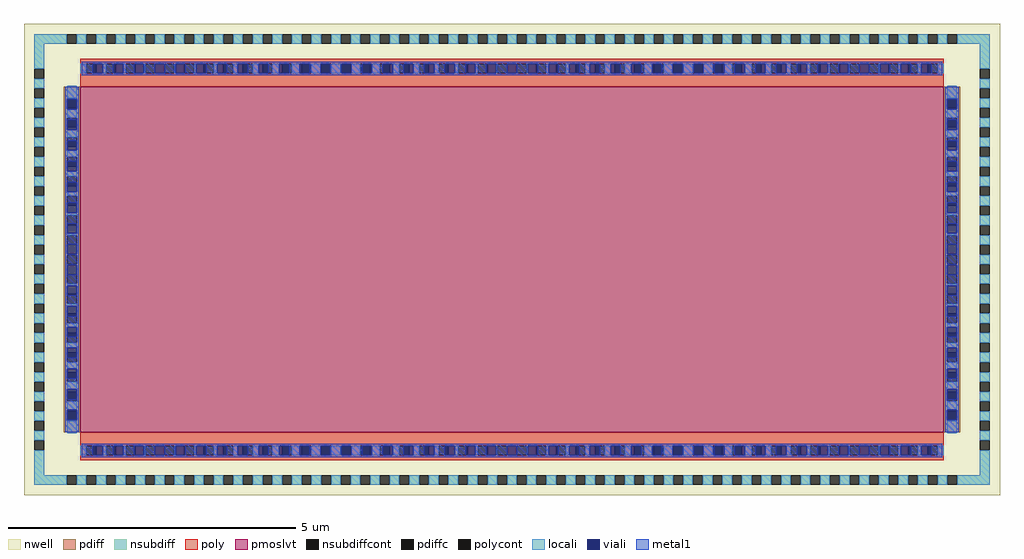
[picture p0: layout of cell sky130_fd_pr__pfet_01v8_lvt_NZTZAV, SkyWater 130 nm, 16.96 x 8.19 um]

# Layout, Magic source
magic
tech sky130A
magscale 1 2
<< nwell >>
rect -1696 -819 1696 819
<< pmoslvt >>
rect -1500 -600 1500 600
<< pdiff >>
rect -1558 561 -1500 600
rect -1558 527 -1546 561
rect -1512 527 -1500 561
rect -1558 493 -1500 527
rect -1558 459 -1546 493
rect -1512 459 -1500 493
rect -1558 425 -1500 459
rect -1558 391 -1546 425
rect -1512 391 -1500 425
rect -1558 357 -1500 391
rect -1558 323 -1546 357
rect -1512 323 -1500 357
rect -1558 289 -1500 323
rect -1558 255 -1546 289
rect -1512 255 -1500 289
rect -1558 221 -1500 255
rect -1558 187 -1546 221
rect -1512 187 -1500 221
rect -1558 153 -1500 187
rect -1558 119 -1546 153
rect -1512 119 -1500 153
rect -1558 85 -1500 119
rect -1558 51 -1546 85
rect -1512 51 -1500 85
rect -1558 17 -1500 51
rect -1558 -17 -1546 17
rect -1512 -17 -1500 17
rect -1558 -51 -1500 -17
rect -1558 -85 -1546 -51
rect -1512 -85 -1500 -51
rect -1558 -119 -1500 -85
rect -1558 -153 -1546 -119
rect -1512 -153 -1500 -119
rect -1558 -187 -1500 -153
rect -1558 -221 -1546 -187
rect -1512 -221 -1500 -187
rect -1558 -255 -1500 -221
rect -1558 -289 -1546 -255
rect -1512 -289 -1500 -255
rect -1558 -323 -1500 -289
rect -1558 -357 -1546 -323
rect -1512 -357 -1500 -323
rect -1558 -391 -1500 -357
rect -1558 -425 -1546 -391
rect -1512 -425 -1500 -391
rect -1558 -459 -1500 -425
rect -1558 -493 -1546 -459
rect -1512 -493 -1500 -459
rect -1558 -527 -1500 -493
rect -1558 -561 -1546 -527
rect -1512 -561 -1500 -527
rect -1558 -600 -1500 -561
rect 1500 561 1558 600
rect 1500 527 1512 561
rect 1546 527 1558 561
rect 1500 493 1558 527
rect 1500 459 1512 493
rect 1546 459 1558 493
rect 1500 425 1558 459
rect 1500 391 1512 425
rect 1546 391 1558 425
rect 1500 357 1558 391
rect 1500 323 1512 357
rect 1546 323 1558 357
rect 1500 289 1558 323
rect 1500 255 1512 289
rect 1546 255 1558 289
rect 1500 221 1558 255
rect 1500 187 1512 221
rect 1546 187 1558 221
rect 1500 153 1558 187
rect 1500 119 1512 153
rect 1546 119 1558 153
rect 1500 85 1558 119
rect 1500 51 1512 85
rect 1546 51 1558 85
rect 1500 17 1558 51
rect 1500 -17 1512 17
rect 1546 -17 1558 17
rect 1500 -51 1558 -17
rect 1500 -85 1512 -51
rect 1546 -85 1558 -51
rect 1500 -119 1558 -85
rect 1500 -153 1512 -119
rect 1546 -153 1558 -119
rect 1500 -187 1558 -153
rect 1500 -221 1512 -187
rect 1546 -221 1558 -187
rect 1500 -255 1558 -221
rect 1500 -289 1512 -255
rect 1546 -289 1558 -255
rect 1500 -323 1558 -289
rect 1500 -357 1512 -323
rect 1546 -357 1558 -323
rect 1500 -391 1558 -357
rect 1500 -425 1512 -391
rect 1546 -425 1558 -391
rect 1500 -459 1558 -425
rect 1500 -493 1512 -459
rect 1546 -493 1558 -459
rect 1500 -527 1558 -493
rect 1500 -561 1512 -527
rect 1546 -561 1558 -527
rect 1500 -600 1558 -561
<< pdiffc >>
rect -1546 527 -1512 561
rect -1546 459 -1512 493
rect -1546 391 -1512 425
rect -1546 323 -1512 357
rect -1546 255 -1512 289
rect -1546 187 -1512 221
rect -1546 119 -1512 153
rect -1546 51 -1512 85
rect -1546 -17 -1512 17
rect -1546 -85 -1512 -51
rect -1546 -153 -1512 -119
rect -1546 -221 -1512 -187
rect -1546 -289 -1512 -255
rect -1546 -357 -1512 -323
rect -1546 -425 -1512 -391
rect -1546 -493 -1512 -459
rect -1546 -561 -1512 -527
rect 1512 527 1546 561
rect 1512 459 1546 493
rect 1512 391 1546 425
rect 1512 323 1546 357
rect 1512 255 1546 289
rect 1512 187 1546 221
rect 1512 119 1546 153
rect 1512 51 1546 85
rect 1512 -17 1546 17
rect 1512 -85 1546 -51
rect 1512 -153 1546 -119
rect 1512 -221 1546 -187
rect 1512 -289 1546 -255
rect 1512 -357 1546 -323
rect 1512 -425 1546 -391
rect 1512 -493 1546 -459
rect 1512 -561 1546 -527
<< nsubdiff >>
rect -1660 749 -1547 783
rect -1513 749 -1479 783
rect -1445 749 -1411 783
rect -1377 749 -1343 783
rect -1309 749 -1275 783
rect -1241 749 -1207 783
rect -1173 749 -1139 783
rect -1105 749 -1071 783
rect -1037 749 -1003 783
rect -969 749 -935 783
rect -901 749 -867 783
rect -833 749 -799 783
rect -765 749 -731 783
rect -697 749 -663 783
rect -629 749 -595 783
rect -561 749 -527 783
rect -493 749 -459 783
rect -425 749 -391 783
rect -357 749 -323 783
rect -289 749 -255 783
rect -221 749 -187 783
rect -153 749 -119 783
rect -85 749 -51 783
rect -17 749 17 783
rect 51 749 85 783
rect 119 749 153 783
rect 187 749 221 783
rect 255 749 289 783
rect 323 749 357 783
rect 391 749 425 783
rect 459 749 493 783
rect 527 749 561 783
rect 595 749 629 783
rect 663 749 697 783
rect 731 749 765 783
rect 799 749 833 783
rect 867 749 901 783
rect 935 749 969 783
rect 1003 749 1037 783
rect 1071 749 1105 783
rect 1139 749 1173 783
rect 1207 749 1241 783
rect 1275 749 1309 783
rect 1343 749 1377 783
rect 1411 749 1445 783
rect 1479 749 1513 783
rect 1547 749 1660 783
rect -1660 663 -1626 749
rect -1660 595 -1626 629
rect 1626 663 1660 749
rect -1660 527 -1626 561
rect -1660 459 -1626 493
rect -1660 391 -1626 425
rect -1660 323 -1626 357
rect -1660 255 -1626 289
rect -1660 187 -1626 221
rect -1660 119 -1626 153
rect -1660 51 -1626 85
rect -1660 -17 -1626 17
rect -1660 -85 -1626 -51
rect -1660 -153 -1626 -119
rect -1660 -221 -1626 -187
rect -1660 -289 -1626 -255
rect -1660 -357 -1626 -323
rect -1660 -425 -1626 -391
rect -1660 -493 -1626 -459
rect -1660 -561 -1626 -527
rect -1660 -629 -1626 -595
rect 1626 595 1660 629
rect 1626 527 1660 561
rect 1626 459 1660 493
rect 1626 391 1660 425
rect 1626 323 1660 357
rect 1626 255 1660 289
rect 1626 187 1660 221
rect 1626 119 1660 153
rect 1626 51 1660 85
rect 1626 -17 1660 17
rect 1626 -85 1660 -51
rect 1626 -153 1660 -119
rect 1626 -221 1660 -187
rect 1626 -289 1660 -255
rect 1626 -357 1660 -323
rect 1626 -425 1660 -391
rect 1626 -493 1660 -459
rect 1626 -561 1660 -527
rect -1660 -749 -1626 -663
rect 1626 -629 1660 -595
rect 1626 -749 1660 -663
rect -1660 -783 -1547 -749
rect -1513 -783 -1479 -749
rect -1445 -783 -1411 -749
rect -1377 -783 -1343 -749
rect -1309 -783 -1275 -749
rect -1241 -783 -1207 -749
rect -1173 -783 -1139 -749
rect -1105 -783 -1071 -749
rect -1037 -783 -1003 -749
rect -969 -783 -935 -749
rect -901 -783 -867 -749
rect -833 -783 -799 -749
rect -765 -783 -731 -749
rect -697 -783 -663 -749
rect -629 -783 -595 -749
rect -561 -783 -527 -749
rect -493 -783 -459 -749
rect -425 -783 -391 -749
rect -357 -783 -323 -749
rect -289 -783 -255 -749
rect -221 -783 -187 -749
rect -153 -783 -119 -749
rect -85 -783 -51 -749
rect -17 -783 17 -749
rect 51 -783 85 -749
rect 119 -783 153 -749
rect 187 -783 221 -749
rect 255 -783 289 -749
rect 323 -783 357 -749
rect 391 -783 425 -749
rect 459 -783 493 -749
rect 527 -783 561 -749
rect 595 -783 629 -749
rect 663 -783 697 -749
rect 731 -783 765 -749
rect 799 -783 833 -749
rect 867 -783 901 -749
rect 935 -783 969 -749
rect 1003 -783 1037 -749
rect 1071 -783 1105 -749
rect 1139 -783 1173 -749
rect 1207 -783 1241 -749
rect 1275 -783 1309 -749
rect 1343 -783 1377 -749
rect 1411 -783 1445 -749
rect 1479 -783 1513 -749
rect 1547 -783 1660 -749
<< nsubdiffcont >>
rect -1547 749 -1513 783
rect -1479 749 -1445 783
rect -1411 749 -1377 783
rect -1343 749 -1309 783
rect -1275 749 -1241 783
rect -1207 749 -1173 783
rect -1139 749 -1105 783
rect -1071 749 -1037 783
rect -1003 749 -969 783
rect -935 749 -901 783
rect -867 749 -833 783
rect -799 749 -765 783
rect -731 749 -697 783
rect -663 749 -629 783
rect -595 749 -561 783
rect -527 749 -493 783
rect -459 749 -425 783
rect -391 749 -357 783
rect -323 749 -289 783
rect -255 749 -221 783
rect -187 749 -153 783
rect -119 749 -85 783
rect -51 749 -17 783
rect 17 749 51 783
rect 85 749 119 783
rect 153 749 187 783
rect 221 749 255 783
rect 289 749 323 783
rect 357 749 391 783
rect 425 749 459 783
rect 493 749 527 783
rect 561 749 595 783
rect 629 749 663 783
rect 697 749 731 783
rect 765 749 799 783
rect 833 749 867 783
rect 901 749 935 783
rect 969 749 1003 783
rect 1037 749 1071 783
rect 1105 749 1139 783
rect 1173 749 1207 783
rect 1241 749 1275 783
rect 1309 749 1343 783
rect 1377 749 1411 783
rect 1445 749 1479 783
rect 1513 749 1547 783
rect -1660 629 -1626 663
rect 1626 629 1660 663
rect -1660 561 -1626 595
rect -1660 493 -1626 527
rect -1660 425 -1626 459
rect -1660 357 -1626 391
rect -1660 289 -1626 323
rect -1660 221 -1626 255
rect -1660 153 -1626 187
rect -1660 85 -1626 119
rect -1660 17 -1626 51
rect -1660 -51 -1626 -17
rect -1660 -119 -1626 -85
rect -1660 -187 -1626 -153
rect -1660 -255 -1626 -221
rect -1660 -323 -1626 -289
rect -1660 -391 -1626 -357
rect -1660 -459 -1626 -425
rect -1660 -527 -1626 -493
rect -1660 -595 -1626 -561
rect 1626 561 1660 595
rect 1626 493 1660 527
rect 1626 425 1660 459
rect 1626 357 1660 391
rect 1626 289 1660 323
rect 1626 221 1660 255
rect 1626 153 1660 187
rect 1626 85 1660 119
rect 1626 17 1660 51
rect 1626 -51 1660 -17
rect 1626 -119 1660 -85
rect 1626 -187 1660 -153
rect 1626 -255 1660 -221
rect 1626 -323 1660 -289
rect 1626 -391 1660 -357
rect 1626 -459 1660 -425
rect 1626 -527 1660 -493
rect 1626 -595 1660 -561
rect -1660 -663 -1626 -629
rect 1626 -663 1660 -629
rect -1547 -783 -1513 -749
rect -1479 -783 -1445 -749
rect -1411 -783 -1377 -749
rect -1343 -783 -1309 -749
rect -1275 -783 -1241 -749
rect -1207 -783 -1173 -749
rect -1139 -783 -1105 -749
rect -1071 -783 -1037 -749
rect -1003 -783 -969 -749
rect -935 -783 -901 -749
rect -867 -783 -833 -749
rect -799 -783 -765 -749
rect -731 -783 -697 -749
rect -663 -783 -629 -749
rect -595 -783 -561 -749
rect -527 -783 -493 -749
rect -459 -783 -425 -749
rect -391 -783 -357 -749
rect -323 -783 -289 -749
rect -255 -783 -221 -749
rect -187 -783 -153 -749
rect -119 -783 -85 -749
rect -51 -783 -17 -749
rect 17 -783 51 -749
rect 85 -783 119 -749
rect 153 -783 187 -749
rect 221 -783 255 -749
rect 289 -783 323 -749
rect 357 -783 391 -749
rect 425 -783 459 -749
rect 493 -783 527 -749
rect 561 -783 595 -749
rect 629 -783 663 -749
rect 697 -783 731 -749
rect 765 -783 799 -749
rect 833 -783 867 -749
rect 901 -783 935 -749
rect 969 -783 1003 -749
rect 1037 -783 1071 -749
rect 1105 -783 1139 -749
rect 1173 -783 1207 -749
rect 1241 -783 1275 -749
rect 1309 -783 1343 -749
rect 1377 -783 1411 -749
rect 1445 -783 1479 -749
rect 1513 -783 1547 -749
<< poly >>
rect -1500 681 1500 697
rect -1500 647 -1479 681
rect -1445 647 -1411 681
rect -1377 647 -1343 681
rect -1309 647 -1275 681
rect -1241 647 -1207 681
rect -1173 647 -1139 681
rect -1105 647 -1071 681
rect -1037 647 -1003 681
rect -969 647 -935 681
rect -901 647 -867 681
rect -833 647 -799 681
rect -765 647 -731 681
rect -697 647 -663 681
rect -629 647 -595 681
rect -561 647 -527 681
rect -493 647 -459 681
rect -425 647 -391 681
rect -357 647 -323 681
rect -289 647 -255 681
rect -221 647 -187 681
rect -153 647 -119 681
rect -85 647 -51 681
rect -17 647 17 681
rect 51 647 85 681
rect 119 647 153 681
rect 187 647 221 681
rect 255 647 289 681
rect 323 647 357 681
rect 391 647 425 681
rect 459 647 493 681
rect 527 647 561 681
rect 595 647 629 681
rect 663 647 697 681
rect 731 647 765 681
rect 799 647 833 681
rect 867 647 901 681
rect 935 647 969 681
rect 1003 647 1037 681
rect 1071 647 1105 681
rect 1139 647 1173 681
rect 1207 647 1241 681
rect 1275 647 1309 681
rect 1343 647 1377 681
rect 1411 647 1445 681
rect 1479 647 1500 681
rect -1500 600 1500 647
rect -1500 -647 1500 -600
rect -1500 -681 -1479 -647
rect -1445 -681 -1411 -647
rect -1377 -681 -1343 -647
rect -1309 -681 -1275 -647
rect -1241 -681 -1207 -647
rect -1173 -681 -1139 -647
rect -1105 -681 -1071 -647
rect -1037 -681 -1003 -647
rect -969 -681 -935 -647
rect -901 -681 -867 -647
rect -833 -681 -799 -647
rect -765 -681 -731 -647
rect -697 -681 -663 -647
rect -629 -681 -595 -647
rect -561 -681 -527 -647
rect -493 -681 -459 -647
rect -425 -681 -391 -647
rect -357 -681 -323 -647
rect -289 -681 -255 -647
rect -221 -681 -187 -647
rect -153 -681 -119 -647
rect -85 -681 -51 -647
rect -17 -681 17 -647
rect 51 -681 85 -647
rect 119 -681 153 -647
rect 187 -681 221 -647
rect 255 -681 289 -647
rect 323 -681 357 -647
rect 391 -681 425 -647
rect 459 -681 493 -647
rect 527 -681 561 -647
rect 595 -681 629 -647
rect 663 -681 697 -647
rect 731 -681 765 -647
rect 799 -681 833 -647
rect 867 -681 901 -647
rect 935 -681 969 -647
rect 1003 -681 1037 -647
rect 1071 -681 1105 -647
rect 1139 -681 1173 -647
rect 1207 -681 1241 -647
rect 1275 -681 1309 -647
rect 1343 -681 1377 -647
rect 1411 -681 1445 -647
rect 1479 -681 1500 -647
rect -1500 -697 1500 -681
<< polycont >>
rect -1479 647 -1445 681
rect -1411 647 -1377 681
rect -1343 647 -1309 681
rect -1275 647 -1241 681
rect -1207 647 -1173 681
rect -1139 647 -1105 681
rect -1071 647 -1037 681
rect -1003 647 -969 681
rect -935 647 -901 681
rect -867 647 -833 681
rect -799 647 -765 681
rect -731 647 -697 681
rect -663 647 -629 681
rect -595 647 -561 681
rect -527 647 -493 681
rect -459 647 -425 681
rect -391 647 -357 681
rect -323 647 -289 681
rect -255 647 -221 681
rect -187 647 -153 681
rect -119 647 -85 681
rect -51 647 -17 681
rect 17 647 51 681
rect 85 647 119 681
rect 153 647 187 681
rect 221 647 255 681
rect 289 647 323 681
rect 357 647 391 681
rect 425 647 459 681
rect 493 647 527 681
rect 561 647 595 681
rect 629 647 663 681
rect 697 647 731 681
rect 765 647 799 681
rect 833 647 867 681
rect 901 647 935 681
rect 969 647 1003 681
rect 1037 647 1071 681
rect 1105 647 1139 681
rect 1173 647 1207 681
rect 1241 647 1275 681
rect 1309 647 1343 681
rect 1377 647 1411 681
rect 1445 647 1479 681
rect -1479 -681 -1445 -647
rect -1411 -681 -1377 -647
rect -1343 -681 -1309 -647
rect -1275 -681 -1241 -647
rect -1207 -681 -1173 -647
rect -1139 -681 -1105 -647
rect -1071 -681 -1037 -647
rect -1003 -681 -969 -647
rect -935 -681 -901 -647
rect -867 -681 -833 -647
rect -799 -681 -765 -647
rect -731 -681 -697 -647
rect -663 -681 -629 -647
rect -595 -681 -561 -647
rect -527 -681 -493 -647
rect -459 -681 -425 -647
rect -391 -681 -357 -647
rect -323 -681 -289 -647
rect -255 -681 -221 -647
rect -187 -681 -153 -647
rect -119 -681 -85 -647
rect -51 -681 -17 -647
rect 17 -681 51 -647
rect 85 -681 119 -647
rect 153 -681 187 -647
rect 221 -681 255 -647
rect 289 -681 323 -647
rect 357 -681 391 -647
rect 425 -681 459 -647
rect 493 -681 527 -647
rect 561 -681 595 -647
rect 629 -681 663 -647
rect 697 -681 731 -647
rect 765 -681 799 -647
rect 833 -681 867 -647
rect 901 -681 935 -647
rect 969 -681 1003 -647
rect 1037 -681 1071 -647
rect 1105 -681 1139 -647
rect 1173 -681 1207 -647
rect 1241 -681 1275 -647
rect 1309 -681 1343 -647
rect 1377 -681 1411 -647
rect 1445 -681 1479 -647
<< locali >>
rect -1660 749 -1547 783
rect -1513 749 -1479 783
rect -1445 749 -1411 783
rect -1377 749 -1343 783
rect -1309 749 -1275 783
rect -1241 749 -1207 783
rect -1173 749 -1139 783
rect -1105 749 -1071 783
rect -1037 749 -1003 783
rect -969 749 -935 783
rect -901 749 -867 783
rect -833 749 -799 783
rect -765 749 -731 783
rect -697 749 -663 783
rect -629 749 -595 783
rect -561 749 -527 783
rect -493 749 -459 783
rect -425 749 -391 783
rect -357 749 -323 783
rect -289 749 -255 783
rect -221 749 -187 783
rect -153 749 -119 783
rect -85 749 -51 783
rect -17 749 17 783
rect 51 749 85 783
rect 119 749 153 783
rect 187 749 221 783
rect 255 749 289 783
rect 323 749 357 783
rect 391 749 425 783
rect 459 749 493 783
rect 527 749 561 783
rect 595 749 629 783
rect 663 749 697 783
rect 731 749 765 783
rect 799 749 833 783
rect 867 749 901 783
rect 935 749 969 783
rect 1003 749 1037 783
rect 1071 749 1105 783
rect 1139 749 1173 783
rect 1207 749 1241 783
rect 1275 749 1309 783
rect 1343 749 1377 783
rect 1411 749 1445 783
rect 1479 749 1513 783
rect 1547 749 1660 783
rect -1660 663 -1626 749
rect -1500 647 -1479 681
rect -1423 647 -1411 681
rect -1351 647 -1343 681
rect -1279 647 -1275 681
rect -1173 647 -1169 681
rect -1105 647 -1097 681
rect -1037 647 -1025 681
rect -969 647 -953 681
rect -901 647 -881 681
rect -833 647 -809 681
rect -765 647 -737 681
rect -697 647 -665 681
rect -629 647 -595 681
rect -559 647 -527 681
rect -487 647 -459 681
rect -415 647 -391 681
rect -343 647 -323 681
rect -271 647 -255 681
rect -199 647 -187 681
rect -127 647 -119 681
rect -55 647 -51 681
rect 51 647 55 681
rect 119 647 127 681
rect 187 647 199 681
rect 255 647 271 681
rect 323 647 343 681
rect 391 647 415 681
rect 459 647 487 681
rect 527 647 559 681
rect 595 647 629 681
rect 665 647 697 681
rect 737 647 765 681
rect 809 647 833 681
rect 881 647 901 681
rect 953 647 969 681
rect 1025 647 1037 681
rect 1097 647 1105 681
rect 1169 647 1173 681
rect 1275 647 1279 681
rect 1343 647 1351 681
rect 1411 647 1423 681
rect 1479 647 1500 681
rect 1626 663 1660 749
rect -1660 595 -1626 629
rect -1660 527 -1626 561
rect -1660 459 -1626 493
rect -1660 391 -1626 425
rect -1660 323 -1626 357
rect -1660 255 -1626 289
rect -1660 187 -1626 221
rect -1660 119 -1626 153
rect -1660 51 -1626 85
rect -1660 -17 -1626 17
rect -1660 -85 -1626 -51
rect -1660 -153 -1626 -119
rect -1660 -221 -1626 -187
rect -1660 -289 -1626 -255
rect -1660 -357 -1626 -323
rect -1660 -425 -1626 -391
rect -1660 -493 -1626 -459
rect -1660 -561 -1626 -527
rect -1660 -629 -1626 -595
rect -1546 561 -1512 604
rect -1546 493 -1512 523
rect -1546 425 -1512 451
rect -1546 357 -1512 379
rect -1546 289 -1512 307
rect -1546 221 -1512 235
rect -1546 153 -1512 163
rect -1546 85 -1512 91
rect -1546 17 -1512 19
rect -1546 -19 -1512 -17
rect -1546 -91 -1512 -85
rect -1546 -163 -1512 -153
rect -1546 -235 -1512 -221
rect -1546 -307 -1512 -289
rect -1546 -379 -1512 -357
rect -1546 -451 -1512 -425
rect -1546 -523 -1512 -493
rect -1546 -604 -1512 -561
rect 1512 561 1546 604
rect 1512 493 1546 523
rect 1512 425 1546 451
rect 1512 357 1546 379
rect 1512 289 1546 307
rect 1512 221 1546 235
rect 1512 153 1546 163
rect 1512 85 1546 91
rect 1512 17 1546 19
rect 1512 -19 1546 -17
rect 1512 -91 1546 -85
rect 1512 -163 1546 -153
rect 1512 -235 1546 -221
rect 1512 -307 1546 -289
rect 1512 -379 1546 -357
rect 1512 -451 1546 -425
rect 1512 -523 1546 -493
rect 1512 -604 1546 -561
rect 1626 595 1660 629
rect 1626 527 1660 561
rect 1626 459 1660 493
rect 1626 391 1660 425
rect 1626 323 1660 357
rect 1626 255 1660 289
rect 1626 187 1660 221
rect 1626 119 1660 153
rect 1626 51 1660 85
rect 1626 -17 1660 17
rect 1626 -85 1660 -51
rect 1626 -153 1660 -119
rect 1626 -221 1660 -187
rect 1626 -289 1660 -255
rect 1626 -357 1660 -323
rect 1626 -425 1660 -391
rect 1626 -493 1660 -459
rect 1626 -561 1660 -527
rect 1626 -629 1660 -595
rect -1660 -749 -1626 -663
rect -1500 -681 -1479 -647
rect -1423 -681 -1411 -647
rect -1351 -681 -1343 -647
rect -1279 -681 -1275 -647
rect -1173 -681 -1169 -647
rect -1105 -681 -1097 -647
rect -1037 -681 -1025 -647
rect -969 -681 -953 -647
rect -901 -681 -881 -647
rect -833 -681 -809 -647
rect -765 -681 -737 -647
rect -697 -681 -665 -647
rect -629 -681 -595 -647
rect -559 -681 -527 -647
rect -487 -681 -459 -647
rect -415 -681 -391 -647
rect -343 -681 -323 -647
rect -271 -681 -255 -647
rect -199 -681 -187 -647
rect -127 -681 -119 -647
rect -55 -681 -51 -647
rect 51 -681 55 -647
rect 119 -681 127 -647
rect 187 -681 199 -647
rect 255 -681 271 -647
rect 323 -681 343 -647
rect 391 -681 415 -647
rect 459 -681 487 -647
rect 527 -681 559 -647
rect 595 -681 629 -647
rect 665 -681 697 -647
rect 737 -681 765 -647
rect 809 -681 833 -647
rect 881 -681 901 -647
rect 953 -681 969 -647
rect 1025 -681 1037 -647
rect 1097 -681 1105 -647
rect 1169 -681 1173 -647
rect 1275 -681 1279 -647
rect 1343 -681 1351 -647
rect 1411 -681 1423 -647
rect 1479 -681 1500 -647
rect 1626 -749 1660 -663
rect -1660 -783 -1547 -749
rect -1513 -783 -1479 -749
rect -1445 -783 -1411 -749
rect -1377 -783 -1343 -749
rect -1309 -783 -1275 -749
rect -1241 -783 -1207 -749
rect -1173 -783 -1139 -749
rect -1105 -783 -1071 -749
rect -1037 -783 -1003 -749
rect -969 -783 -935 -749
rect -901 -783 -867 -749
rect -833 -783 -799 -749
rect -765 -783 -731 -749
rect -697 -783 -663 -749
rect -629 -783 -595 -749
rect -561 -783 -527 -749
rect -493 -783 -459 -749
rect -425 -783 -391 -749
rect -357 -783 -323 -749
rect -289 -783 -255 -749
rect -221 -783 -187 -749
rect -153 -783 -119 -749
rect -85 -783 -51 -749
rect -17 -783 17 -749
rect 51 -783 85 -749
rect 119 -783 153 -749
rect 187 -783 221 -749
rect 255 -783 289 -749
rect 323 -783 357 -749
rect 391 -783 425 -749
rect 459 -783 493 -749
rect 527 -783 561 -749
rect 595 -783 629 -749
rect 663 -783 697 -749
rect 731 -783 765 -749
rect 799 -783 833 -749
rect 867 -783 901 -749
rect 935 -783 969 -749
rect 1003 -783 1037 -749
rect 1071 -783 1105 -749
rect 1139 -783 1173 -749
rect 1207 -783 1241 -749
rect 1275 -783 1309 -749
rect 1343 -783 1377 -749
rect 1411 -783 1445 -749
rect 1479 -783 1513 -749
rect 1547 -783 1660 -749
<< viali >>
rect -1457 647 -1445 681
rect -1445 647 -1423 681
rect -1385 647 -1377 681
rect -1377 647 -1351 681
rect -1313 647 -1309 681
rect -1309 647 -1279 681
rect -1241 647 -1207 681
rect -1169 647 -1139 681
rect -1139 647 -1135 681
rect -1097 647 -1071 681
rect -1071 647 -1063 681
rect -1025 647 -1003 681
rect -1003 647 -991 681
rect -953 647 -935 681
rect -935 647 -919 681
rect -881 647 -867 681
rect -867 647 -847 681
rect -809 647 -799 681
rect -799 647 -775 681
rect -737 647 -731 681
rect -731 647 -703 681
rect -665 647 -663 681
rect -663 647 -631 681
rect -593 647 -561 681
rect -561 647 -559 681
rect -521 647 -493 681
rect -493 647 -487 681
rect -449 647 -425 681
rect -425 647 -415 681
rect -377 647 -357 681
rect -357 647 -343 681
rect -305 647 -289 681
rect -289 647 -271 681
rect -233 647 -221 681
rect -221 647 -199 681
rect -161 647 -153 681
rect -153 647 -127 681
rect -89 647 -85 681
rect -85 647 -55 681
rect -17 647 17 681
rect 55 647 85 681
rect 85 647 89 681
rect 127 647 153 681
rect 153 647 161 681
rect 199 647 221 681
rect 221 647 233 681
rect 271 647 289 681
rect 289 647 305 681
rect 343 647 357 681
rect 357 647 377 681
rect 415 647 425 681
rect 425 647 449 681
rect 487 647 493 681
rect 493 647 521 681
rect 559 647 561 681
rect 561 647 593 681
rect 631 647 663 681
rect 663 647 665 681
rect 703 647 731 681
rect 731 647 737 681
rect 775 647 799 681
rect 799 647 809 681
rect 847 647 867 681
rect 867 647 881 681
rect 919 647 935 681
rect 935 647 953 681
rect 991 647 1003 681
rect 1003 647 1025 681
rect 1063 647 1071 681
rect 1071 647 1097 681
rect 1135 647 1139 681
rect 1139 647 1169 681
rect 1207 647 1241 681
rect 1279 647 1309 681
rect 1309 647 1313 681
rect 1351 647 1377 681
rect 1377 647 1385 681
rect 1423 647 1445 681
rect 1445 647 1457 681
rect -1546 527 -1512 557
rect -1546 523 -1512 527
rect -1546 459 -1512 485
rect -1546 451 -1512 459
rect -1546 391 -1512 413
rect -1546 379 -1512 391
rect -1546 323 -1512 341
rect -1546 307 -1512 323
rect -1546 255 -1512 269
rect -1546 235 -1512 255
rect -1546 187 -1512 197
rect -1546 163 -1512 187
rect -1546 119 -1512 125
rect -1546 91 -1512 119
rect -1546 51 -1512 53
rect -1546 19 -1512 51
rect -1546 -51 -1512 -19
rect -1546 -53 -1512 -51
rect -1546 -119 -1512 -91
rect -1546 -125 -1512 -119
rect -1546 -187 -1512 -163
rect -1546 -197 -1512 -187
rect -1546 -255 -1512 -235
rect -1546 -269 -1512 -255
rect -1546 -323 -1512 -307
rect -1546 -341 -1512 -323
rect -1546 -391 -1512 -379
rect -1546 -413 -1512 -391
rect -1546 -459 -1512 -451
rect -1546 -485 -1512 -459
rect -1546 -527 -1512 -523
rect -1546 -557 -1512 -527
rect 1512 527 1546 557
rect 1512 523 1546 527
rect 1512 459 1546 485
rect 1512 451 1546 459
rect 1512 391 1546 413
rect 1512 379 1546 391
rect 1512 323 1546 341
rect 1512 307 1546 323
rect 1512 255 1546 269
rect 1512 235 1546 255
rect 1512 187 1546 197
rect 1512 163 1546 187
rect 1512 119 1546 125
rect 1512 91 1546 119
rect 1512 51 1546 53
rect 1512 19 1546 51
rect 1512 -51 1546 -19
rect 1512 -53 1546 -51
rect 1512 -119 1546 -91
rect 1512 -125 1546 -119
rect 1512 -187 1546 -163
rect 1512 -197 1546 -187
rect 1512 -255 1546 -235
rect 1512 -269 1546 -255
rect 1512 -323 1546 -307
rect 1512 -341 1546 -323
rect 1512 -391 1546 -379
rect 1512 -413 1546 -391
rect 1512 -459 1546 -451
rect 1512 -485 1546 -459
rect 1512 -527 1546 -523
rect 1512 -557 1546 -527
rect -1457 -681 -1445 -647
rect -1445 -681 -1423 -647
rect -1385 -681 -1377 -647
rect -1377 -681 -1351 -647
rect -1313 -681 -1309 -647
rect -1309 -681 -1279 -647
rect -1241 -681 -1207 -647
rect -1169 -681 -1139 -647
rect -1139 -681 -1135 -647
rect -1097 -681 -1071 -647
rect -1071 -681 -1063 -647
rect -1025 -681 -1003 -647
rect -1003 -681 -991 -647
rect -953 -681 -935 -647
rect -935 -681 -919 -647
rect -881 -681 -867 -647
rect -867 -681 -847 -647
rect -809 -681 -799 -647
rect -799 -681 -775 -647
rect -737 -681 -731 -647
rect -731 -681 -703 -647
rect -665 -681 -663 -647
rect -663 -681 -631 -647
rect -593 -681 -561 -647
rect -561 -681 -559 -647
rect -521 -681 -493 -647
rect -493 -681 -487 -647
rect -449 -681 -425 -647
rect -425 -681 -415 -647
rect -377 -681 -357 -647
rect -357 -681 -343 -647
rect -305 -681 -289 -647
rect -289 -681 -271 -647
rect -233 -681 -221 -647
rect -221 -681 -199 -647
rect -161 -681 -153 -647
rect -153 -681 -127 -647
rect -89 -681 -85 -647
rect -85 -681 -55 -647
rect -17 -681 17 -647
rect 55 -681 85 -647
rect 85 -681 89 -647
rect 127 -681 153 -647
rect 153 -681 161 -647
rect 199 -681 221 -647
rect 221 -681 233 -647
rect 271 -681 289 -647
rect 289 -681 305 -647
rect 343 -681 357 -647
rect 357 -681 377 -647
rect 415 -681 425 -647
rect 425 -681 449 -647
rect 487 -681 493 -647
rect 493 -681 521 -647
rect 559 -681 561 -647
rect 561 -681 593 -647
rect 631 -681 663 -647
rect 663 -681 665 -647
rect 703 -681 731 -647
rect 731 -681 737 -647
rect 775 -681 799 -647
rect 799 -681 809 -647
rect 847 -681 867 -647
rect 867 -681 881 -647
rect 919 -681 935 -647
rect 935 -681 953 -647
rect 991 -681 1003 -647
rect 1003 -681 1025 -647
rect 1063 -681 1071 -647
rect 1071 -681 1097 -647
rect 1135 -681 1139 -647
rect 1139 -681 1169 -647
rect 1207 -681 1241 -647
rect 1279 -681 1309 -647
rect 1309 -681 1313 -647
rect 1351 -681 1377 -647
rect 1377 -681 1385 -647
rect 1423 -681 1445 -647
rect 1445 -681 1457 -647
<< metal1 >>
rect -1496 681 1496 687
rect -1496 647 -1457 681
rect -1423 647 -1385 681
rect -1351 647 -1313 681
rect -1279 647 -1241 681
rect -1207 647 -1169 681
rect -1135 647 -1097 681
rect -1063 647 -1025 681
rect -991 647 -953 681
rect -919 647 -881 681
rect -847 647 -809 681
rect -775 647 -737 681
rect -703 647 -665 681
rect -631 647 -593 681
rect -559 647 -521 681
rect -487 647 -449 681
rect -415 647 -377 681
rect -343 647 -305 681
rect -271 647 -233 681
rect -199 647 -161 681
rect -127 647 -89 681
rect -55 647 -17 681
rect 17 647 55 681
rect 89 647 127 681
rect 161 647 199 681
rect 233 647 271 681
rect 305 647 343 681
rect 377 647 415 681
rect 449 647 487 681
rect 521 647 559 681
rect 593 647 631 681
rect 665 647 703 681
rect 737 647 775 681
rect 809 647 847 681
rect 881 647 919 681
rect 953 647 991 681
rect 1025 647 1063 681
rect 1097 647 1135 681
rect 1169 647 1207 681
rect 1241 647 1279 681
rect 1313 647 1351 681
rect 1385 647 1423 681
rect 1457 647 1496 681
rect -1496 641 1496 647
rect -1552 557 -1506 600
rect -1552 523 -1546 557
rect -1512 523 -1506 557
rect -1552 485 -1506 523
rect -1552 451 -1546 485
rect -1512 451 -1506 485
rect -1552 413 -1506 451
rect -1552 379 -1546 413
rect -1512 379 -1506 413
rect -1552 341 -1506 379
rect -1552 307 -1546 341
rect -1512 307 -1506 341
rect -1552 269 -1506 307
rect -1552 235 -1546 269
rect -1512 235 -1506 269
rect -1552 197 -1506 235
rect -1552 163 -1546 197
rect -1512 163 -1506 197
rect -1552 125 -1506 163
rect -1552 91 -1546 125
rect -1512 91 -1506 125
rect -1552 53 -1506 91
rect -1552 19 -1546 53
rect -1512 19 -1506 53
rect -1552 -19 -1506 19
rect -1552 -53 -1546 -19
rect -1512 -53 -1506 -19
rect -1552 -91 -1506 -53
rect -1552 -125 -1546 -91
rect -1512 -125 -1506 -91
rect -1552 -163 -1506 -125
rect -1552 -197 -1546 -163
rect -1512 -197 -1506 -163
rect -1552 -235 -1506 -197
rect -1552 -269 -1546 -235
rect -1512 -269 -1506 -235
rect -1552 -307 -1506 -269
rect -1552 -341 -1546 -307
rect -1512 -341 -1506 -307
rect -1552 -379 -1506 -341
rect -1552 -413 -1546 -379
rect -1512 -413 -1506 -379
rect -1552 -451 -1506 -413
rect -1552 -485 -1546 -451
rect -1512 -485 -1506 -451
rect -1552 -523 -1506 -485
rect -1552 -557 -1546 -523
rect -1512 -557 -1506 -523
rect -1552 -600 -1506 -557
rect 1506 557 1552 600
rect 1506 523 1512 557
rect 1546 523 1552 557
rect 1506 485 1552 523
rect 1506 451 1512 485
rect 1546 451 1552 485
rect 1506 413 1552 451
rect 1506 379 1512 413
rect 1546 379 1552 413
rect 1506 341 1552 379
rect 1506 307 1512 341
rect 1546 307 1552 341
rect 1506 269 1552 307
rect 1506 235 1512 269
rect 1546 235 1552 269
rect 1506 197 1552 235
rect 1506 163 1512 197
rect 1546 163 1552 197
rect 1506 125 1552 163
rect 1506 91 1512 125
rect 1546 91 1552 125
rect 1506 53 1552 91
rect 1506 19 1512 53
rect 1546 19 1552 53
rect 1506 -19 1552 19
rect 1506 -53 1512 -19
rect 1546 -53 1552 -19
rect 1506 -91 1552 -53
rect 1506 -125 1512 -91
rect 1546 -125 1552 -91
rect 1506 -163 1552 -125
rect 1506 -197 1512 -163
rect 1546 -197 1552 -163
rect 1506 -235 1552 -197
rect 1506 -269 1512 -235
rect 1546 -269 1552 -235
rect 1506 -307 1552 -269
rect 1506 -341 1512 -307
rect 1546 -341 1552 -307
rect 1506 -379 1552 -341
rect 1506 -413 1512 -379
rect 1546 -413 1552 -379
rect 1506 -451 1552 -413
rect 1506 -485 1512 -451
rect 1546 -485 1552 -451
rect 1506 -523 1552 -485
rect 1506 -557 1512 -523
rect 1546 -557 1552 -523
rect 1506 -600 1552 -557
rect -1496 -647 1496 -641
rect -1496 -681 -1457 -647
rect -1423 -681 -1385 -647
rect -1351 -681 -1313 -647
rect -1279 -681 -1241 -647
rect -1207 -681 -1169 -647
rect -1135 -681 -1097 -647
rect -1063 -681 -1025 -647
rect -991 -681 -953 -647
rect -919 -681 -881 -647
rect -847 -681 -809 -647
rect -775 -681 -737 -647
rect -703 -681 -665 -647
rect -631 -681 -593 -647
rect -559 -681 -521 -647
rect -487 -681 -449 -647
rect -415 -681 -377 -647
rect -343 -681 -305 -647
rect -271 -681 -233 -647
rect -199 -681 -161 -647
rect -127 -681 -89 -647
rect -55 -681 -17 -647
rect 17 -681 55 -647
rect 89 -681 127 -647
rect 161 -681 199 -647
rect 233 -681 271 -647
rect 305 -681 343 -647
rect 377 -681 415 -647
rect 449 -681 487 -647
rect 521 -681 559 -647
rect 593 -681 631 -647
rect 665 -681 703 -647
rect 737 -681 775 -647
rect 809 -681 847 -647
rect 881 -681 919 -647
rect 953 -681 991 -647
rect 1025 -681 1063 -647
rect 1097 -681 1135 -647
rect 1169 -681 1207 -647
rect 1241 -681 1279 -647
rect 1313 -681 1351 -647
rect 1385 -681 1423 -647
rect 1457 -681 1496 -647
rect -1496 -687 1496 -681
<< properties >>
string FIXED_BBOX -1643 -766 1643 766
<< end >>
